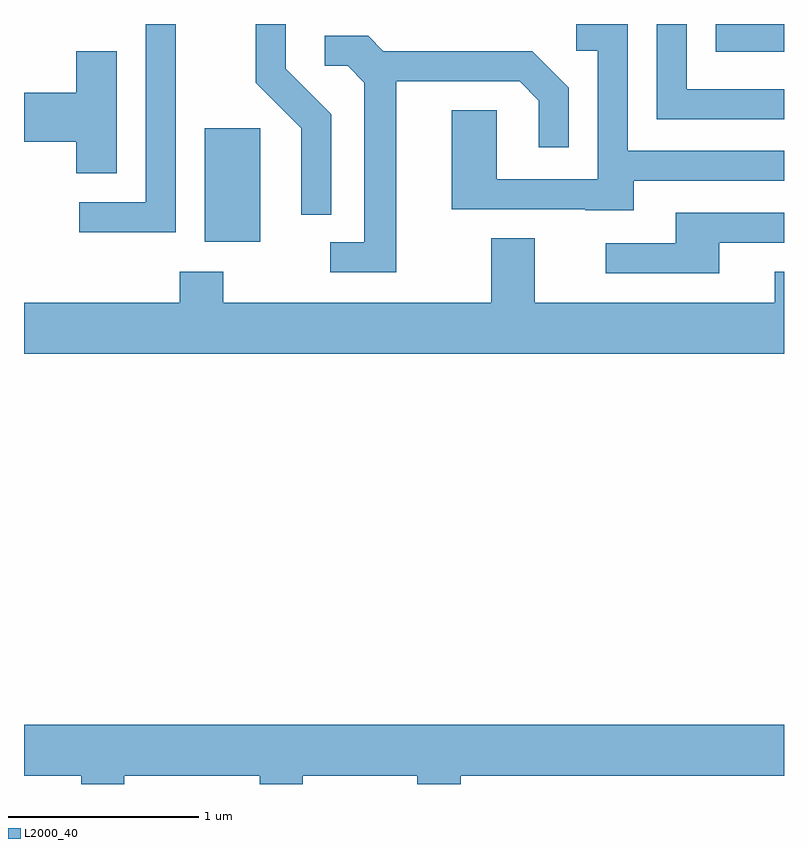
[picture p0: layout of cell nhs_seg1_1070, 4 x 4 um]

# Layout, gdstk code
import gdstk
lib = gdstk.Library(unit=1e-6, precision=1e-09)
def R(c, l, rs):  # rectangles x0, y0, x1, y1
    for r in rs: c.add(gdstk.rectangle(r[:2], r[2:], *l))
def P(c, l, *ps):  # polygons
    for p in ps: c.add(gdstk.Polygon(p, *l))
L2000_40 = (2000, 40)

nhs_seg1_1070 = lib.new_cell('nhs_seg1_1070')
R(nhs_seg1_1070, L2000_40, [(218.561,944.566,218.854,945.164), (221.251,945.566,221.611,945.712)])
P(nhs_seg1_1070, L2000_40, [(221.611,945.369),(221.099,945.369),(221.099,945.712),(220.941,945.712),(220.941,945.211),(221.611,945.211)],
  [(219.229,945.237),(218.989,945.477),(218.989,945.712),(218.831,945.712),(218.831,945.404),(219.071,945.164),(219.071,944.708),(219.229,944.708)],
  [(220.819,944.886),(221.611,944.886),(221.611,945.044),(220.789,945.044),(220.789,945.712),(220.518,945.712),(220.518,945.571),(220.631,945.571),(220.631,944.894),(220.099,944.894),(220.099,945.259),(219.861,945.259),(219.861,944.736),(220.565,944.736),(220.565,944.731),(220.819,944.731)],
  [(218.409,945.712),(218.251,945.712),(218.251,944.774),(217.903,944.774),(217.903,944.616),(218.409,944.616)],
  [(219.569,945.411),(220.219,945.411),(220.321,945.309),(220.321,945.063),(220.479,945.063),(220.479,945.377),(220.287,945.569),(219.502,945.569),(219.422,945.649),(219.193,945.649),(219.193,945.491),(219.314,945.491),(219.401,945.404),(219.401,944.564),(219.223,944.564),(219.223,944.406),(219.569,944.406)],
  [(218.099,945.569),(217.886,945.569),(217.886,945.349),(217.611,945.349),(217.611,945.091),(217.886,945.091),(217.886,944.926),(218.099,944.926)],
  [(221.269,944.561),(221.611,944.561),(221.611,944.719),(221.041,944.719),(221.041,944.559),(220.673,944.559),(220.673,944.401),(221.269,944.401)],
  [(221.611,944.409),(221.561,944.409),(221.561,944.244),(220.299,944.244),(220.299,944.584),(220.071,944.584),(220.071,944.244),(218.659,944.244),(218.659,944.409),(218.431,944.409),(218.431,944.244),(217.611,944.244),(217.611,943.976),(221.611,943.976)],
  [(218.139,941.756),(218.851,941.756),(218.851,941.712),(219.079,941.712),(219.079,941.756),(219.681,941.756),(219.681,941.712),(219.909,941.712),(219.909,941.756),(221.611,941.756),(221.611,942.024),(217.611,942.024),(217.611,941.756),(217.911,941.756),(217.911,941.712),(218.139,941.712)])

lib.write_gds('nhs_seg1_1070.gds')
